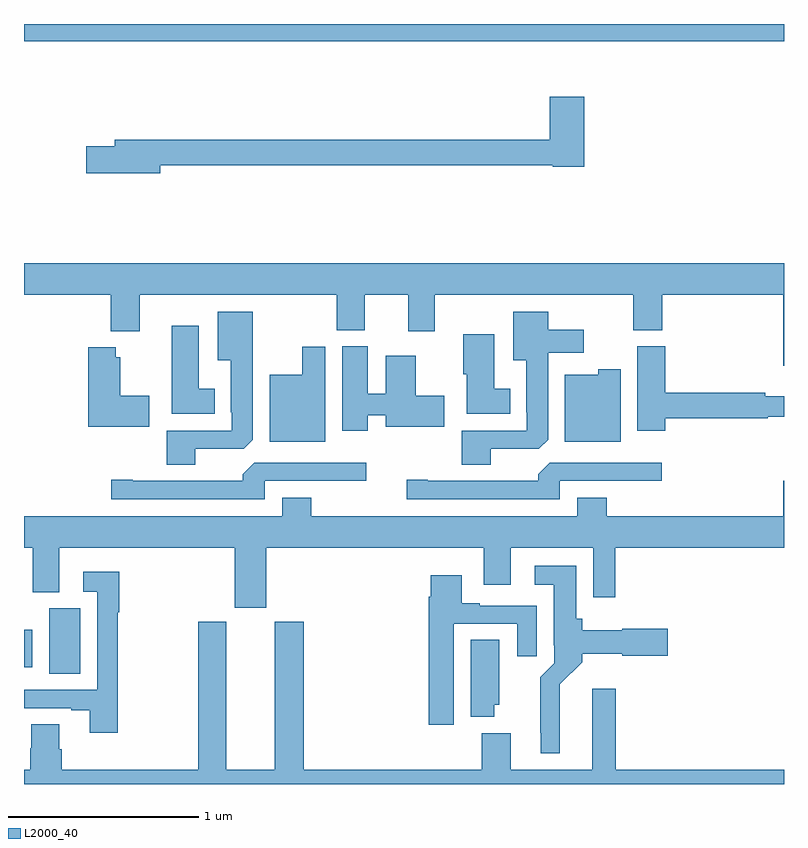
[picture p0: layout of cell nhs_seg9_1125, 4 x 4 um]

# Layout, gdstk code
import gdstk
lib = gdstk.Library(unit=1e-6, precision=1e-09)
def R(c, l, rs):  # rectangles x0, y0, x1, y1
    for r in rs: c.add(gdstk.rectangle(r[:2], r[2:], *l))
def P(c, l, *ps):  # polygons
    for p in ps: c.add(gdstk.Polygon(p, *l))
L2000_40 = (2000, 40)

nhs_seg9_1125 = lib.new_cell('nhs_seg9_1125')
R(nhs_seg9_1125, L2000_40, [(173.132,1205.08,173.296,1205.424), (173,1205.115,173.044,1205.311), (173,1208.408,177,1208.5)])
P(nhs_seg9_1125, L2000_40, [(173.716,1207.756),(175.782,1207.756),(175.782,1207.748),(175.949,1207.748),(175.949,1208.116),(175.766,1208.116),(175.766,1207.892),(173.477,1207.892),(173.477,1207.856),(173.328,1207.856),(173.328,1207.714),(173.716,1207.714)],
  [(177,1207.24),(173,1207.24),(173,1207.076),(173.456,1207.076),(173.456,1206.884),(173.608,1206.884),(173.608,1207.076),(174.646,1207.076),(174.646,1206.889),(174.793,1206.889),(174.793,1207.076),(175.022,1207.076),(175.022,1206.882),(175.162,1206.882),(175.162,1207.076),(176.207,1207.076),(176.207,1206.889),(176.36,1206.889),(176.36,1207.076),(176.996,1207.076),(176.996,1206.702),(177,1206.702)],
  [(173.902,1206.264),(174.156,1206.264),(174.205,1206.313),(174.205,1206.985),(174.02,1206.985),(174.02,1206.731),(174.089,1206.731),(174.089,1206.457),(174.093,1206.457),(174.093,1206.36),(173.75,1206.36),(173.75,1206.181),(173.902,1206.181)],
  [(175.456,1206.264),(175.71,1206.264),(175.759,1206.313),(175.759,1206.77),(175.945,1206.77),(175.945,1206.892),(175.759,1206.892),(175.759,1206.985),(175.574,1206.985),(175.574,1206.731),(175.643,1206.731),(175.643,1206.457),(175.647,1206.457),(175.647,1206.36),(175.304,1206.36),(175.304,1206.181),(175.456,1206.181)],
  [(174.004,1206.58),(173.92,1206.58),(173.92,1206.913),(173.777,1206.913),(173.777,1206.449),(174.004,1206.449)],
  [(175.558,1206.58),(175.474,1206.58),(175.474,1206.868),(175.313,1206.868),(175.313,1206.657),(175.331,1206.657),(175.331,1206.449),(175.558,1206.449)],
  [(174.808,1206.442),(174.905,1206.442),(174.905,1206.38),(175.213,1206.38),(175.213,1206.543),(175.063,1206.543),(175.063,1206.754),(174.905,1206.754),(174.905,1206.553),(174.808,1206.553),(174.808,1206.804),(174.674,1206.804),(174.674,1206.36),(174.808,1206.36)],
  [(176.375,1206.424),(176.914,1206.424),(176.914,1206.432),(177,1206.432),(177,1206.541),(176.9,1206.541),(176.9,1206.56),(176.375,1206.56),(176.375,1206.804),(176.228,1206.804),(176.228,1206.36),(176.375,1206.36)],
  [(174.586,1206.802),(174.464,1206.802),(174.464,1206.655),(174.293,1206.655),(174.293,1206.302),(174.586,1206.302)],
  [(173.659,1206.543),(173.506,1206.543),(173.506,1206.745),(173.484,1206.745),(173.484,1206.799),(173.339,1206.799),(173.339,1206.38),(173.659,1206.38)],
  [(176.14,1206.682),(176.022,1206.682),(176.022,1206.655),(175.847,1206.655),(175.847,1206.302),(176.14,1206.302)],
  [(175.821,1206.096),(176.356,1206.096),(176.356,1206.192),(175.767,1206.192),(175.706,1206.13),(175.706,1206.096),(175.126,1206.096),(175.126,1206.101),(175.014,1206.101),(175.014,1206),(175.821,1206)],
  [(174.267,1206.096),(174.802,1206.096),(174.802,1206.192),(174.213,1206.192),(174.152,1206.13),(174.152,1206.096),(173.572,1206.096),(173.572,1206.101),(173.46,1206.101),(173.46,1206),(174.267,1206)],
  [(174.274,1205.744),(175.421,1205.744),(175.421,1205.55),(175.561,1205.55),(175.561,1205.744),(175.995,1205.744),(175.995,1205.484),(176.111,1205.484),(176.111,1205.744),(177,1205.744),(177,1206.097),(176.996,1206.097),(176.996,1205.908),(176.066,1205.908),(176.066,1206.007),(175.913,1206.007),(175.913,1205.908),(174.512,1205.908),(174.512,1206.007),(174.359,1206.007),(174.359,1205.908),(173,1205.908),(173,1205.744),(173.045,1205.744),(173.045,1205.509),(173.185,1205.509),(173.185,1205.744),(174.11,1205.744),(174.11,1205.427),(174.274,1205.427)],
  [(175.819,1205.024),(175.937,1205.142),(175.937,1205.186),(176.148,1205.186),(176.148,1205.174),(176.389,1205.174),(176.389,1205.316),(176.148,1205.316),(176.148,1205.308),(175.937,1205.308),(175.937,1205.37),(175.906,1205.37),(175.906,1205.65),(175.689,1205.65),(175.689,1205.549),(175.787,1205.549),(175.787,1205.23),(175.791,1205.23),(175.791,1205.136),(175.717,1205.062),(175.717,1204.771),(175.721,1204.771),(175.721,1204.661),(175.819,1204.661)],
  [(173.494,1205.404),(173.501,1205.404),(173.501,1205.617),(173.313,1205.617),(173.313,1205.511),(173.385,1205.511),(173.385,1204.995),(173,1204.995),(173,1204.899),(173.249,1204.899),(173.249,1204.887),(173.345,1204.887),(173.345,1204.77),(173.494,1204.77)],
  [(175.261,1205.343),(175.595,1205.343),(175.595,1205.172),(175.699,1205.172),(175.699,1205.439),(175.399,1205.439),(175.399,1205.452),(175.303,1205.452),(175.303,1205.599),(175.142,1205.599),(175.142,1205.486),(175.13,1205.486),(175.13,1204.812),(175.261,1204.812)],
  [(177,1204.576),(176.114,1204.576),(176.114,1205.002),(175.991,1205.002),(175.991,1204.576),(175.561,1204.576),(175.561,1204.768),(175.409,1204.768),(175.409,1204.576),(174.473,1204.576),(174.473,1205.355),(174.32,1205.355),(174.32,1204.576),(174.064,1204.576),(174.064,1205.355),(173.917,1205.355),(173.917,1204.576),(173.198,1204.576),(173.198,1204.682),(173.185,1204.682),(173.185,1204.814),(173.038,1204.814),(173.038,1204.689),(173.033,1204.689),(173.033,1204.576),(173,1204.576),(173,1204.5),(177,1204.5)],
  [(175.474,1204.917),(175.501,1204.917),(175.501,1205.258),(175.352,1205.258),(175.352,1204.853),(175.474,1204.853)])

lib.write_gds('nhs_seg9_1125.gds')
